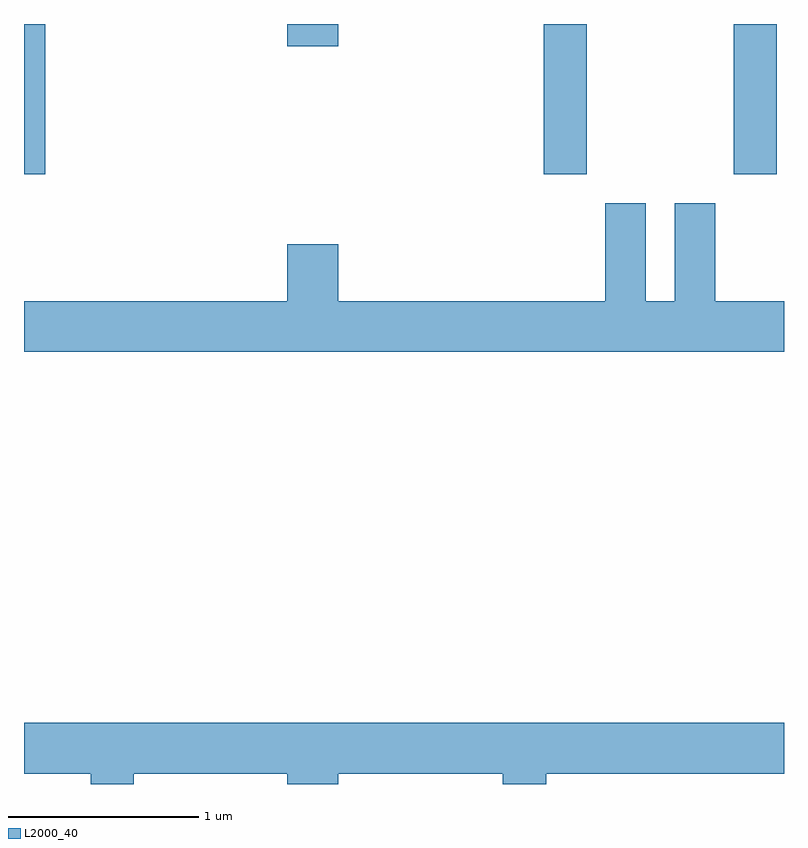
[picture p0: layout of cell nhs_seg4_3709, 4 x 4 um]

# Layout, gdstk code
import gdstk
lib = gdstk.Library(unit=1e-6, precision=1e-09)
def R(c, l, rs):  # rectangles x0, y0, x1, y1
    for r in rs: c.add(gdstk.rectangle(r[:2], r[2:], *l))
def P(c, l, *ps):  # polygons
    for p in ps: c.add(gdstk.Polygon(p, *l))
L2000_40 = (2000, 40)

nhs_seg4_3709 = lib.new_cell('nhs_seg4_3709')
R(nhs_seg4_3709, L2000_40, [(293.611,1331.191,293.724,1331.982), (296.346,1331.191,296.574,1331.982), (297.346,1331.191,297.574,1331.982), (294.996,1331.866,295.264,1331.982)])
P(nhs_seg4_3709, L2000_40, [(297.611,1330.524),(297.249,1330.524),(297.249,1331.039),(297.036,1331.039),(297.036,1330.524),(296.884,1330.524),(296.884,1331.039),(296.671,1331.039),(296.671,1330.524),(295.264,1330.524),(295.264,1330.824),(294.996,1330.824),(294.996,1330.524),(293.611,1330.524),(293.611,1330.256),(297.611,1330.256)],
  [(294.189,1328.036),(294.996,1328.036),(294.996,1327.982),(295.264,1327.982),(295.264,1328.036),(296.131,1328.036),(296.131,1327.982),(296.359,1327.982),(296.359,1328.036),(297.611,1328.036),(297.611,1328.304),(293.611,1328.304),(293.611,1328.036),(293.961,1328.036),(293.961,1327.982),(294.189,1327.982)])

lib.write_gds('nhs_seg4_3709.gds')
